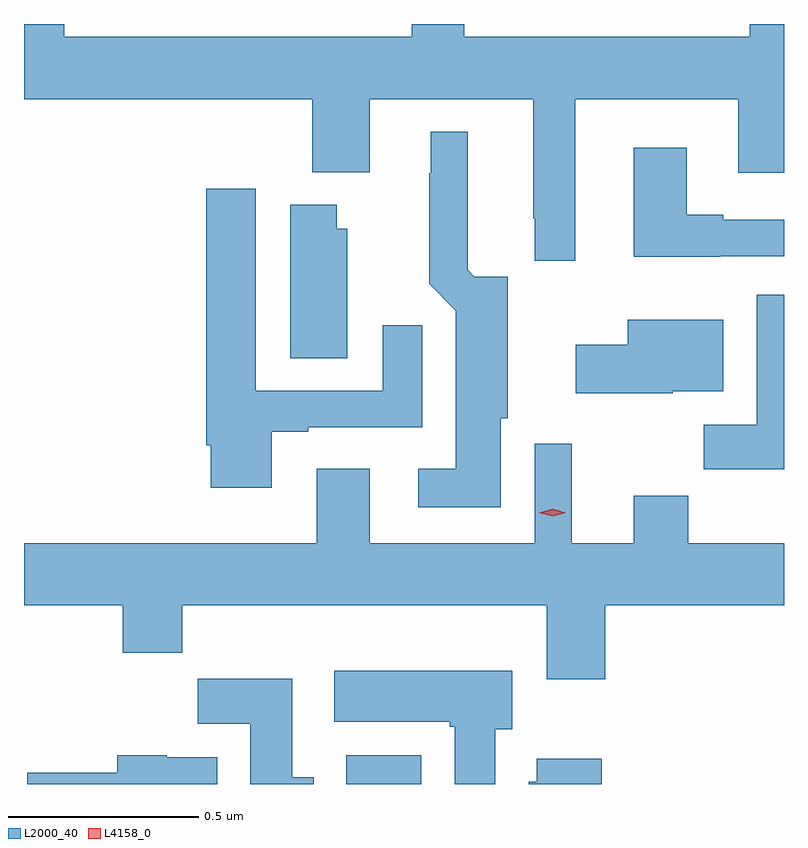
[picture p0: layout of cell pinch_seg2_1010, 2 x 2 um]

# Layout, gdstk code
import gdstk
lib = gdstk.Library(unit=1e-6, precision=1e-09)
def R(c, l, rs):  # rectangles x0, y0, x1, y1
    for r in rs: c.add(gdstk.rectangle(r[:2], r[2:], *l))
def P(c, l, *ps):  # polygons
    for p in ps: c.add(gdstk.Polygon(p, *l))
L2000_40 = (2000, 40)
L4158_0 = (4158, 0)

pinch_seg2_1010 = lib.new_cell('pinch_seg2_1010')
R(pinch_seg2_1010, L2000_40, [(174.167,648.498,174.364,648.574)])
P(pinch_seg2_1010, L2000_40, [(174.769,650.3),(175.199,650.3),(175.199,650.106),(175.319,650.106),(175.319,650.498),(175.229,650.498),(175.229,650.464),(174.477,650.464),(174.477,650.498),(174.339,650.498),(174.339,650.464),(173.425,650.464),(173.425,650.498),(173.319,650.498),(173.319,650.3),(174.077,650.3),(174.077,650.108),(174.229,650.108),(174.229,650.3),(174.659,650.3),(174.659,649.987),(174.663,649.987),(174.663,649.875),(174.769,649.875)],
  [(174.574,649.461),(174.592,649.461),(174.592,649.833),(174.504,649.833),(174.487,649.851),(174.487,650.215),(174.389,650.215),(174.389,650.105),(174.385,650.105),(174.385,649.814),(174.455,649.744),(174.455,649.327),(174.357,649.327),(174.357,649.226),(174.574,649.226)],
  [(175.151,649.887),(175.319,649.887),(175.319,649.983),(175.159,649.983),(175.159,649.996),(175.063,649.996),(175.063,650.173),(174.923,650.173),(174.923,649.886),(175.151,649.886)],
  [(173.971,649.425),(174.067,649.425),(174.067,649.437),(174.367,649.437),(174.367,649.705),(174.263,649.705),(174.263,649.533),(173.929,649.533),(173.929,650.065),(173.798,650.065),(173.798,649.39),(173.81,649.39),(173.81,649.278),(173.971,649.278)],
  [(174.169,649.959),(174.142,649.959),(174.142,650.023),(174.02,650.023),(174.02,649.618),(174.169,649.618)],
  [(175.319,649.786),(175.247,649.786),(175.247,649.444),(175.108,649.444),(175.108,649.326),(175.319,649.326)],
  [(175.026,649.532),(175.159,649.532),(175.159,649.72),(174.908,649.72),(174.908,649.654),(174.771,649.654),(174.771,649.526),(175.026,649.526)],
  [(173.319,648.968),(173.579,648.968),(173.579,648.844),(173.735,648.844),(173.735,648.968),(174.695,648.968),(174.695,648.774),(174.848,648.774),(174.848,648.968),(175.319,648.968),(175.319,649.132),(175.067,649.132),(175.067,649.256),(174.923,649.256),(174.923,649.132),(174.76,649.132),(174.76,649.393),(174.663,649.393),(174.663,649.132),(174.229,649.132),(174.229,649.327),(174.089,649.327),(174.089,649.132),(173.319,649.132)],
  [(174.559,648.642),(174.604,648.642),(174.604,648.796),(174.135,648.796),(174.135,648.662),(174.439,648.662),(174.439,648.649),(174.452,648.649),(174.452,648.498),(174.559,648.498)],
  [(174.082,648.516),(174.025,648.516),(174.025,648.775),(173.776,648.775),(173.776,648.656),(173.915,648.656),(173.915,648.498),(174.082,648.498)],
  [(173.827,648.568),(173.694,648.568),(173.694,648.574),(173.564,648.574),(173.564,648.528),(173.328,648.528),(173.328,648.498),(173.827,648.498)],
  [(174.839,648.565),(174.668,648.565),(174.668,648.504),(174.647,648.504),(174.647,648.498),(174.839,648.498)])
P(pinch_seg2_1010, L4158_0, [(174.71,649.202),(174.675,649.212),(174.675,649.212),(174.675,649.212),(174.71,649.222),(174.745,649.212),(174.745,649.212),(174.745,649.212)])

lib.write_gds('pinch_seg2_1010.gds')
